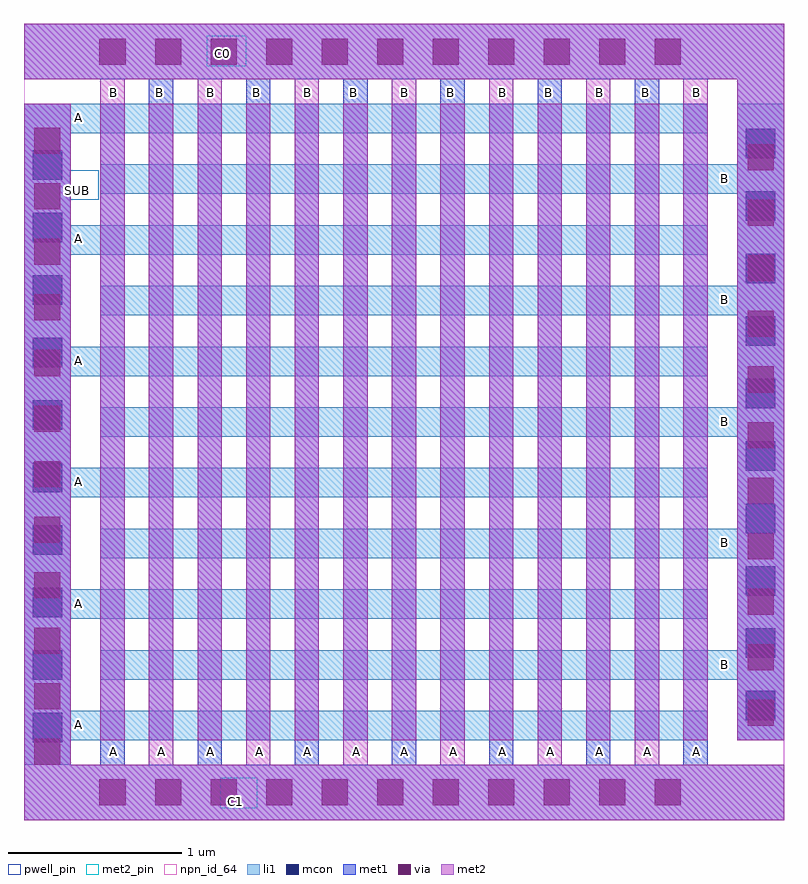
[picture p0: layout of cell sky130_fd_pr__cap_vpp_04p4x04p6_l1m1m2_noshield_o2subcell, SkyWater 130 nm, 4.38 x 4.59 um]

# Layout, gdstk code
import gdstk
lib = gdstk.Library(unit=1e-6, precision=1e-09)
def R(c, l, rs):  # rectangles x0, y0, x1, y1
    for r in rs: c.add(gdstk.rectangle(r[:2], r[2:], *l))
def A(c, l, x, y, w, h, nx, ny, dx, dy):  # array of equal rectangles
    R(c, l, [(x+i*dx, y+j*dy, x+i*dx+w, y+j*dy+h) for i in range(nx) for j in range(ny)])
li1 = (67, 20)
mcon = (67, 44)
met1 = (68, 20)
via = (68, 44)
met2_pin = (69, 16)
met2 = (69, 20)
npn_id_64 = (82, 64)
pwell_pin = (122, 16)

sky130_fd_pr__cap_vpp_04 = lib.new_cell('sky130_fd_pr__cap_vpp_04p4x04p6_l1m1m2_noshield_o2subcell')
A(sky130_fd_pr__cap_vpp_04, li1, 0, 0.46, 3.94, 0.17, 1, 6, 0, 0.7)
A(sky130_fd_pr__cap_vpp_04, li1, 0.44, 0.81, 3.94, 0.17, 1, 5, 0, 0.7)
R(sky130_fd_pr__cap_vpp_04, li1, [(0,0.32,0.27,4.13), (4.11,0.46,4.38,4.13)])
A(sky130_fd_pr__cap_vpp_04, mcon, 0.05, 0.45, 0.17, 0.17, 1, 10, 0, 0.36)
A(sky130_fd_pr__cap_vpp_04, mcon, 4.16, 0.575, 0.17, 0.17, 1, 10, 0, 0.36)
A(sky130_fd_pr__cap_vpp_04, met1, 0.44, 0.32, 0.14, 3.81, 7, 1, 0.56, 0)
A(sky130_fd_pr__cap_vpp_04, met1, 0.72, 0.46, 0.14, 3.81, 6, 1, 0.56, 0)
R(sky130_fd_pr__cap_vpp_04, met1, [(0,0,4.38,0.32), (0,0.32,0.27,4.13), (4.11,0.46,4.38,4.27), (0,4.27,4.38,4.59)])
A(sky130_fd_pr__cap_vpp_04, via, 0.06, 0.32, 0.15, 0.15, 1, 12, 0, 0.32)
A(sky130_fd_pr__cap_vpp_04, via, 4.17, 0.545, 0.15, 0.15, 1, 11, 0, 0.32)
A(sky130_fd_pr__cap_vpp_04, via, 0.435, 4.355, 0.15, 0.15, 11, 1, 0.32, 0)
R(sky130_fd_pr__cap_vpp_04, via, [(0.435,0.085,0.585,0.235), (0.435,0.085,0.585,0.235), (0.755,0.085,0.905,0.235), (0.755,0.085,0.905,0.235), (1.075,0.085,1.225,0.235), (1.075,0.085,1.225,0.235), (1.395,0.085,1.545,0.235), (1.395,0.085,1.545,0.235), (1.715,0.085,1.865,0.235), (1.715,0.085,1.865,0.235), (2.035,0.085,2.185,0.235), (2.035,0.085,2.185,0.235), (2.355,0.085,2.505,0.235), (2.355,0.085,2.505,0.235), (2.675,0.085,2.825,0.235), (2.675,0.085,2.825,0.235), (2.995,0.085,3.145,0.235), (2.995,0.085,3.145,0.235), (3.315,0.085,3.465,0.235), (3.315,0.085,3.465,0.235), (3.635,0.085,3.785,0.235), (3.635,0.085,3.785,0.235)])
R(sky130_fd_pr__cap_vpp_04, met2_pin, [(1.131,0.069,1.344,0.245), (1.052,4.346,1.281,4.522)])
A(sky130_fd_pr__cap_vpp_04, met2, 0.72, 0.32, 0.14, 3.81, 6, 1, 0.56, 0)
A(sky130_fd_pr__cap_vpp_04, met2, 0.44, 0.46, 0.14, 3.81, 7, 1, 0.56, 0)
R(sky130_fd_pr__cap_vpp_04, met2, [(0,0,4.38,0.32), (0,0.32,0.27,4.13), (4.11,0.46,4.38,4.27), (0,4.27,4.38,4.59)])
R(sky130_fd_pr__cap_vpp_04, npn_id_64, [(0,0,4.38,4.59)])
R(sky130_fd_pr__cap_vpp_04, pwell_pin, [(0.265,3.576,0.43,3.746)])
sky130_fd_pr__cap_vpp_04.add(gdstk.Label('B', (4.035,2.3), layer=83, texttype=44))
sky130_fd_pr__cap_vpp_04.add(gdstk.Label('B', (4.035,0.9), layer=83, texttype=44))
sky130_fd_pr__cap_vpp_04.add(gdstk.Label('B', (4.035,1.6), layer=83, texttype=44))
sky130_fd_pr__cap_vpp_04.add(gdstk.Label('B', (4.035,3.7), layer=83, texttype=44))
sky130_fd_pr__cap_vpp_04.add(gdstk.Label('B', (4.035,3), layer=83, texttype=44))
sky130_fd_pr__cap_vpp_04.add(gdstk.Label('A', (0.315,3.35), layer=83, texttype=44))
sky130_fd_pr__cap_vpp_04.add(gdstk.Label('A', (0.315,1.25), layer=83, texttype=44))
sky130_fd_pr__cap_vpp_04.add(gdstk.Label('A', (0.315,4.05), layer=83, texttype=44))
sky130_fd_pr__cap_vpp_04.add(gdstk.Label('A', (0.315,0.55), layer=83, texttype=44))
sky130_fd_pr__cap_vpp_04.add(gdstk.Label('A', (0.315,1.95), layer=83, texttype=44))
sky130_fd_pr__cap_vpp_04.add(gdstk.Label('A', (0.315,2.65), layer=83, texttype=44))
sky130_fd_pr__cap_vpp_04.add(gdstk.Label('B', (0.515,4.195), layer=83, texttype=44))
sky130_fd_pr__cap_vpp_04.add(gdstk.Label('B', (1.075,4.195), layer=83, texttype=44))
sky130_fd_pr__cap_vpp_04.add(gdstk.Label('B', (1.635,4.195), layer=83, texttype=44))
sky130_fd_pr__cap_vpp_04.add(gdstk.Label('B', (2.195,4.195), layer=83, texttype=44))
sky130_fd_pr__cap_vpp_04.add(gdstk.Label('B', (2.755,4.195), layer=83, texttype=44))
sky130_fd_pr__cap_vpp_04.add(gdstk.Label('B', (3.315,4.195), layer=83, texttype=44))
sky130_fd_pr__cap_vpp_04.add(gdstk.Label('B', (3.875,4.195), layer=83, texttype=44))
sky130_fd_pr__cap_vpp_04.add(gdstk.Label('A', (3.595,0.395), layer=83, texttype=44))
sky130_fd_pr__cap_vpp_04.add(gdstk.Label('B', (0.78,4.195), layer=83, texttype=44))
sky130_fd_pr__cap_vpp_04.add(gdstk.Label('B', (1.34,4.195), layer=83, texttype=44))
sky130_fd_pr__cap_vpp_04.add(gdstk.Label('B', (1.9,4.195), layer=83, texttype=44))
sky130_fd_pr__cap_vpp_04.add(gdstk.Label('B', (2.46,4.195), layer=83, texttype=44))
sky130_fd_pr__cap_vpp_04.add(gdstk.Label('B', (3.02,4.195), layer=83, texttype=44))
sky130_fd_pr__cap_vpp_04.add(gdstk.Label('B', (3.58,4.195), layer=83, texttype=44))
sky130_fd_pr__cap_vpp_04.add(gdstk.Label('A', (0.515,0.395), layer=83, texttype=44))
sky130_fd_pr__cap_vpp_04.add(gdstk.Label('A', (1.075,0.395), layer=83, texttype=44))
sky130_fd_pr__cap_vpp_04.add(gdstk.Label('A', (1.635,0.395), layer=83, texttype=44))
sky130_fd_pr__cap_vpp_04.add(gdstk.Label('A', (2.195,0.395), layer=83, texttype=44))
sky130_fd_pr__cap_vpp_04.add(gdstk.Label('A', (2.755,0.395), layer=83, texttype=44))
sky130_fd_pr__cap_vpp_04.add(gdstk.Label('A', (3.315,0.395), layer=83, texttype=44))
sky130_fd_pr__cap_vpp_04.add(gdstk.Label('A', (3.875,0.395), layer=83, texttype=44))
sky130_fd_pr__cap_vpp_04.add(gdstk.Label('A', (2.475,0.395), layer=83, texttype=44))
sky130_fd_pr__cap_vpp_04.add(gdstk.Label('A', (3.035,0.395), layer=83, texttype=44))
sky130_fd_pr__cap_vpp_04.add(gdstk.Label('A', (0.795,0.395), layer=83, texttype=44))
sky130_fd_pr__cap_vpp_04.add(gdstk.Label('A', (1.355,0.395), layer=83, texttype=44))
sky130_fd_pr__cap_vpp_04.add(gdstk.Label('A', (1.915,0.395), layer=83, texttype=44))
sky130_fd_pr__cap_vpp_04.add(gdstk.Label('SUB', (0.309,3.627), layer=64, texttype=59))
sky130_fd_pr__cap_vpp_04.add(gdstk.Label('C0', (1.142,4.416), layer=69, texttype=5))
sky130_fd_pr__cap_vpp_04.add(gdstk.Label('C1', (1.217,0.106), layer=69, texttype=5))

lib.write_gds('sky130_fd_pr__cap_vpp_04p4x04p6_l1m1m2_noshield_o2subcell.gds')
